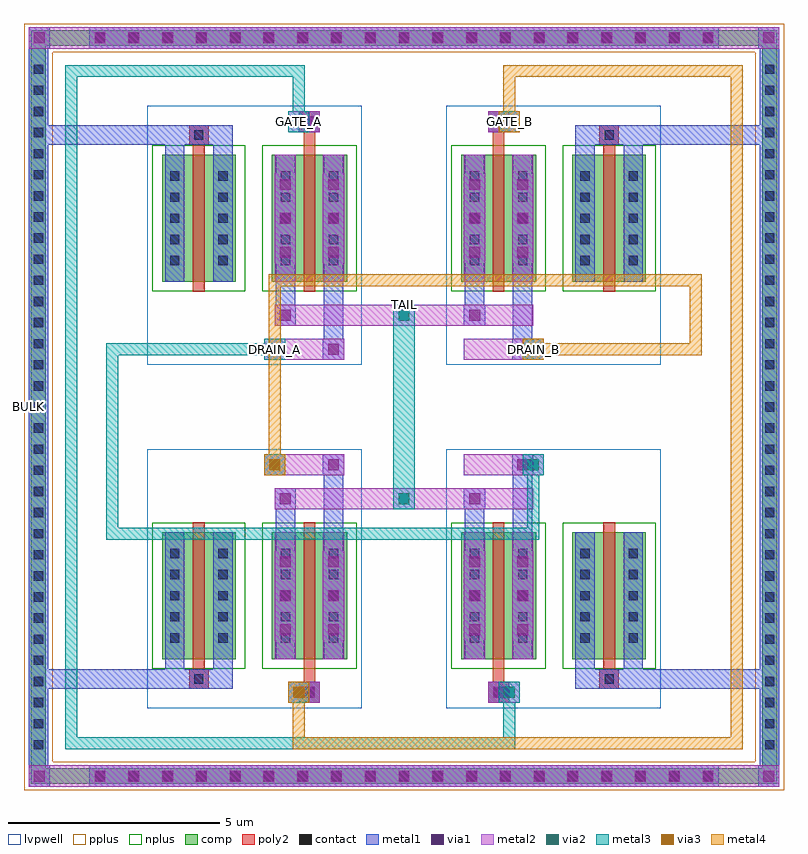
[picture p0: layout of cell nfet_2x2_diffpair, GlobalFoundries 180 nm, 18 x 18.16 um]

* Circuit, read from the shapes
.subckt nfet_2x2_diffpair BULK DRAIN_A DRAIN_B GATE_A GATE_B TAIL
XM1 BULK BULK BULK BULK nfet_03v3 w=3u l=0.28u m=4
XM2 DRAIN_B GATE_B TAIL BULK nfet_03v3 w=3u l=0.28u m=2
XM3 DRAIN_A GATE_A TAIL BULK nfet_03v3 w=3u l=0.28u m=2
.ends

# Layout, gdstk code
import gdstk
lib = gdstk.Library(unit=1e-6, precision=5e-09)
def R(c, l, rs):  # rectangles x0, y0, x1, y1
    for r in rs: c.add(gdstk.rectangle(r[:2], r[2:], *l))
def A(c, l, x, y, w, h, nx, ny, dx, dy):  # array of equal rectangles
    R(c, l, [(x+i*dx, y+j*dy, x+i*dx+w, y+j*dy+h) for i in range(nx) for j in range(ny)])
def P(c, l, *ps):  # polygons
    for p in ps: c.add(gdstk.Polygon(p, *l))
comp = (22, 0)
poly2 = (30, 0)
pplus = (31, 0)
nplus = (32, 0)
contact = (33, 0)
metal1 = (34, 0)
via1 = (35, 0)
metal2 = (36, 0)
via2 = (38, 0)
via3 = (40, 0)
metal3 = (42, 0)
metal4 = (46, 0)
lvpwell = (204, 0)

unnamed_879f9b6f = lib.new_cell('Unnamed_879f9b6f')
R(unnamed_879f9b6f, comp, [(-2.19,-1.905,-0.45,1.095), (0.41,-1.905,2.19,1.095)])
R(unnamed_879f9b6f, poly2, [(1.05,-2.945,1.55,-2.445), (1.12,-2.875,1.48,-2.515), (-1.55,-2.605,-1.09,-2.145), (-1.5,-2.555,-1.14,-2.195), (1.16,-2.445,1.44,-2.145), (-1.46,-2.145,-1.18,1.335), (1.16,-2.145,1.44,1.335)])
R(unnamed_879f9b6f, nplus, [(-2.42,-2.135,-0.22,1.325), (0.18,-2.135,2.42,1.325)])
A(unnamed_879f9b6f, contact, -2, -1.515, 0.22, 0.22, 1, 5, 0, 0.5)
A(unnamed_879f9b6f, contact, -0.86, -1.515, 0.22, 0.22, 1, 5, 0, 0.5)
A(unnamed_879f9b6f, contact, 0.62, -1.515, 0.22, 0.22, 1, 5, 0, 0.5)
A(unnamed_879f9b6f, contact, 1.76, -1.515, 0.22, 0.22, 1, 5, 0, 0.5)
R(unnamed_879f9b6f, contact, [(1.19,-2.805,1.41,-2.585), (-1.43,-2.485,-1.21,-2.265)])
A(unnamed_879f9b6f, metal1, -2.12, -1.635, 0.46, 0.46, 1, 5, 0, 0.5)
A(unnamed_879f9b6f, metal1, -0.98, -1.635, 0.46, 0.46, 1, 5, 0, 0.5)
A(unnamed_879f9b6f, metal1, 0.5, -1.635, 0.46, 0.46, 1, 5, 0, 0.5)
A(unnamed_879f9b6f, metal1, 1.64, -1.635, 0.46, 0.46, 1, 5, 0, 0.5)
A(unnamed_879f9b6f, metal1, 0.48, -1.455, 0.5, 0.5, 1, 3, 0, 0.8)
A(unnamed_879f9b6f, metal1, 1.62, -1.455, 0.5, 0.5, 1, 3, 0, 0.8)
R(unnamed_879f9b6f, metal1, [(1.05,-2.945,1.55,-2.445), (-2.12,-2.605,-1.55,-2.145), (-2.12,-2.605,-1.66,-1.905), (-1.55,-2.605,-1.09,-2.145), (-1.09,-2.605,-0.52,-2.145), (-0.98,-2.605,-0.52,-1.905), (-2.12,-1.905,-1.66,1.095), (-0.98,-1.905,-0.52,1.095), (0.5,-1.905,0.96,1.095), (1.64,-1.905,2.1,1.095), (0.48,-1.455,0.98,0.645), (1.62,-1.455,2.12,0.645), (0.5,1.095,0.96,2.145), (1.64,1.095,2.1,2.945), (0.48,1.645,0.98,2.145), (1.62,2.445,2.12,2.945)])
A(unnamed_879f9b6f, via1, 0.6, -1.335, 0.26, 0.26, 1, 3, 0, 0.8)
A(unnamed_879f9b6f, via1, 1.74, -1.335, 0.26, 0.26, 1, 3, 0, 0.8)
R(unnamed_879f9b6f, via1, [(1.17,-2.825,1.43,-2.565), (0.6,1.765,0.86,2.025), (1.74,2.565,2,2.825)])
A(unnamed_879f9b6f, metal2, 0.48, -1.455, 0.5, 0.5, 1, 3, 0, 0.8)
A(unnamed_879f9b6f, metal2, 1.62, -1.455, 0.5, 0.5, 1, 3, 0, 0.8)
R(unnamed_879f9b6f, metal2, [(1.05,-2.945,1.55,-2.445), (1.05,-2.945,1.55,-2.445), (0.48,-1.905,0.98,1.095), (1.62,-1.905,2.12,1.095), (0.48,1.645,0.98,2.145), (0.48,1.645,2.12,2.145), (0.48,2.445,2.12,2.945), (1.62,2.445,2.12,2.945)])
R(unnamed_879f9b6f, lvpwell, [(-2.54,-3.065,2.54,3.065)])

unnamed_244f37a9 = lib.new_cell('Unnamed_244f37a9')
R(unnamed_244f37a9, comp, [(-2.19,-1.905,-0.41,1.095), (0.45,-1.905,2.19,1.095)])
R(unnamed_244f37a9, poly2, [(-1.55,-2.945,-1.05,-2.445), (-1.48,-2.875,-1.12,-2.515), (1.09,-2.605,1.55,-2.145), (1.14,-2.555,1.5,-2.195), (-1.44,-2.445,-1.16,-2.145), (-1.44,-2.145,-1.16,1.335), (1.18,-2.145,1.46,1.335)])
R(unnamed_244f37a9, nplus, [(-2.42,-2.135,-0.18,1.325), (0.22,-2.135,2.42,1.325)])
A(unnamed_244f37a9, contact, -1.98, -1.515, 0.22, 0.22, 1, 5, 0, 0.5)
A(unnamed_244f37a9, contact, -0.84, -1.515, 0.22, 0.22, 1, 5, 0, 0.5)
A(unnamed_244f37a9, contact, 0.64, -1.515, 0.22, 0.22, 1, 5, 0, 0.5)
A(unnamed_244f37a9, contact, 1.78, -1.515, 0.22, 0.22, 1, 5, 0, 0.5)
R(unnamed_244f37a9, contact, [(-1.41,-2.805,-1.19,-2.585), (1.21,-2.485,1.43,-2.265)])
A(unnamed_244f37a9, metal1, -2.1, -1.635, 0.46, 0.46, 1, 5, 0, 0.5)
A(unnamed_244f37a9, metal1, -0.96, -1.635, 0.46, 0.46, 1, 5, 0, 0.5)
A(unnamed_244f37a9, metal1, 0.52, -1.635, 0.46, 0.46, 1, 5, 0, 0.5)
A(unnamed_244f37a9, metal1, 1.66, -1.635, 0.46, 0.46, 1, 5, 0, 0.5)
A(unnamed_244f37a9, metal1, -2.12, -1.455, 0.5, 0.5, 1, 3, 0, 0.8)
A(unnamed_244f37a9, metal1, -0.98, -1.455, 0.5, 0.5, 1, 3, 0, 0.8)
R(unnamed_244f37a9, metal1, [(-1.55,-2.945,-1.05,-2.445), (0.52,-2.605,1.09,-2.145), (0.52,-2.605,0.98,-1.905), (1.09,-2.605,1.55,-2.145), (1.55,-2.605,2.12,-2.145), (1.66,-2.605,2.12,-1.905), (-2.1,-1.905,-1.64,1.095), (-0.96,-1.905,-0.5,1.095), (0.52,-1.905,0.98,1.095), (1.66,-1.905,2.12,1.095), (-2.12,-1.455,-1.62,0.645), (-0.98,-1.455,-0.48,0.645), (-2.1,1.095,-1.64,2.145), (-0.96,1.095,-0.5,2.945), (-2.12,1.645,-1.62,2.145), (-0.98,2.445,-0.48,2.945)])
A(unnamed_244f37a9, via1, -2, -1.335, 0.26, 0.26, 1, 3, 0, 0.8)
A(unnamed_244f37a9, via1, -0.86, -1.335, 0.26, 0.26, 1, 3, 0, 0.8)
R(unnamed_244f37a9, via1, [(-1.43,-2.825,-1.17,-2.565), (-2,1.765,-1.74,2.025), (-0.86,2.565,-0.6,2.825)])
A(unnamed_244f37a9, metal2, -2.12, -1.455, 0.5, 0.5, 1, 3, 0, 0.8)
A(unnamed_244f37a9, metal2, -0.98, -1.455, 0.5, 0.5, 1, 3, 0, 0.8)
R(unnamed_244f37a9, metal2, [(-1.55,-2.945,-1.05,-2.445), (-1.55,-2.945,-1.05,-2.445), (-2.12,-1.905,-1.62,1.095), (-0.98,-1.905,-0.48,1.095), (-2.12,1.645,-1.62,2.145), (-2.12,1.645,-0.48,2.145), (-2.12,2.445,-0.48,2.945), (-0.98,2.445,-0.48,2.945)])
R(unnamed_244f37a9, lvpwell, [(-2.54,-3.065,2.54,3.065)])

straight_route_24aa01d9 = lib.new_cell('straight_route_24aa01d9')
R(straight_route_24aa01d9, metal2, [(-1.42,1.92,1.42,2.42)])

straight_route_828b8db8 = lib.new_cell('straight_route_828b8db8')
R(straight_route_828b8db8, metal2, [(-1.42,-2.42,1.42,-1.92)])

via_stack_22f48a44 = lib.new_cell('via_stack_22f48a44')
R(via_stack_22f48a44, metal2, [(-0.25,-0.25,0.25,0.25)])
R(via_stack_22f48a44, via2, [(-0.13,-0.13,0.13,0.13)])
R(via_stack_22f48a44, metal3, [(-0.25,-0.25,0.25,0.25)])

straight_route_9fc67775 = lib.new_cell('straight_route_9fc67775')
R(straight_route_9fc67775, metal3, [(-0.25,-1.92,0.25,1.92)])

via_stack_22f48a44_1 = lib.new_cell('via_stack_22f48a44$1')
R(via_stack_22f48a44_1, metal2, [(-0.25,-0.25,0.25,0.25)])
R(via_stack_22f48a44_1, via2, [(-0.13,-0.13,0.13,0.13)])
R(via_stack_22f48a44_1, metal3, [(-0.25,-0.25,0.25,0.25)])

compass_9772c063 = lib.new_cell('compass_9772c063')
R(compass_9772c063, metal3, [(-2.065,-0.14,2.065,0.14)])

rectangle_01c9556d = lib.new_cell('rectangle_01c9556d')
rectangle_01c9556d.add(gdstk.Reference(compass_9772c063, (0,0)))

compass_a9d964d2 = lib.new_cell('compass_a9d964d2')
R(compass_a9d964d2, metal3, [(-0.14,-2.325,0.14,2.325)])

rectangle_f026149b = lib.new_cell('rectangle_f026149b')
rectangle_f026149b.add(gdstk.Reference(compass_a9d964d2, (0,0)))

compass_8cec6944 = lib.new_cell('compass_8cec6944')
R(compass_8cec6944, metal3, [(-5.125,-0.14,5.125,0.14)])

rectangle_f2bba85a = lib.new_cell('rectangle_f2bba85a')
rectangle_f2bba85a.add(gdstk.Reference(compass_8cec6944, (0,0)))

compass_07b543f3 = lib.new_cell('compass_07b543f3')
R(compass_07b543f3, metal3, [(-0.14,-0.955,0.14,0.955)])

rectangle_9e6814dc = lib.new_cell('rectangle_9e6814dc')
rectangle_9e6814dc.add(gdstk.Reference(compass_07b543f3, (0,0)))

via_stack_4d5fe55e = lib.new_cell('via_stack_4d5fe55e')
R(via_stack_4d5fe55e, metal2, [(-0.25,-0.25,0.25,0.25)])
R(via_stack_4d5fe55e, via2, [(-0.13,-0.13,0.13,0.13)])
R(via_stack_4d5fe55e, via3, [(-0.13,-0.13,0.13,0.13)])
R(via_stack_4d5fe55e, metal3, [(-0.25,-0.25,0.25,0.25)])
R(via_stack_4d5fe55e, metal4, [(-0.25,-0.25,0.25,0.25)])

compass_a25909b4 = lib.new_cell('compass_a25909b4')
R(compass_a25909b4, metal4, [(-2.065,-0.14,2.065,0.14)])

rectangle_b2c0afbe = lib.new_cell('rectangle_b2c0afbe')
rectangle_b2c0afbe.add(gdstk.Reference(compass_a25909b4, (0,0)))

compass_37e26d6c = lib.new_cell('compass_37e26d6c')
R(compass_37e26d6c, metal4, [(-0.14,-0.955,0.14,0.955)])

rectangle_351399ae = lib.new_cell('rectangle_351399ae')
rectangle_351399ae.add(gdstk.Reference(compass_37e26d6c, (0,0)))

compass_6faa5492 = lib.new_cell('compass_6faa5492')
R(compass_6faa5492, metal4, [(-5.125,-0.14,5.125,0.14)])

rectangle_6158d154 = lib.new_cell('rectangle_6158d154')
rectangle_6158d154.add(gdstk.Reference(compass_6faa5492, (0,0)))

compass_6f59610a = lib.new_cell('compass_6f59610a')
R(compass_6f59610a, metal4, [(-0.14,-2.325,0.14,2.325)])

rectangle_953685e8 = lib.new_cell('rectangle_953685e8')
rectangle_953685e8.add(gdstk.Reference(compass_6f59610a, (0,0)))

via_stack_22f48a44_2 = lib.new_cell('via_stack_22f48a44$2')
R(via_stack_22f48a44_2, metal2, [(-0.25,-0.25,0.25,0.25)])
R(via_stack_22f48a44_2, via2, [(-0.13,-0.13,0.13,0.13)])
R(via_stack_22f48a44_2, metal3, [(-0.25,-0.25,0.25,0.25)])

compass_f17724b5 = lib.new_cell('compass_f17724b5')
R(compass_f17724b5, metal3, [(-0.14,-0.74,0.14,0.74)])

rectangle_c2f1827f = lib.new_cell('rectangle_c2f1827f')
rectangle_c2f1827f.add(gdstk.Reference(compass_f17724b5, (0,0)))

compass_211bb772 = lib.new_cell('compass_211bb772')
R(compass_211bb772, metal3, [(-2.835,-0.14,2.835,0.14)])

rectangle_39fa1f58 = lib.new_cell('rectangle_39fa1f58')
rectangle_39fa1f58.add(gdstk.Reference(compass_211bb772, (0,0)))

compass_9f03848f = lib.new_cell('compass_9f03848f')
R(compass_9f03848f, metal3, [(-0.14,-8.1,0.14,8.1)])

rectangle_bbaffbfc = lib.new_cell('rectangle_bbaffbfc')
rectangle_bbaffbfc.add(gdstk.Reference(compass_9f03848f, (0,0)))

compass_ac3ade1e = lib.new_cell('compass_ac3ade1e')
R(compass_ac3ade1e, metal3, [(-5.325,-0.14,5.325,0.14)])

rectangle_ac18358f = lib.new_cell('rectangle_ac18358f')
rectangle_ac18358f.add(gdstk.Reference(compass_ac3ade1e, (0,0)))

compass_f17724b5_1 = lib.new_cell('compass_f17724b5$1')
R(compass_f17724b5_1, metal3, [(-0.14,-0.74,0.14,0.74)])

rectangle_c2f1827f_1 = lib.new_cell('rectangle_c2f1827f$1')
rectangle_c2f1827f_1.add(gdstk.Reference(compass_f17724b5_1, (0,0)))

via_stack_4d5fe55e_1 = lib.new_cell('via_stack_4d5fe55e$1')
R(via_stack_4d5fe55e_1, metal2, [(-0.25,-0.25,0.25,0.25)])
R(via_stack_4d5fe55e_1, via2, [(-0.13,-0.13,0.13,0.13)])
R(via_stack_4d5fe55e_1, via3, [(-0.13,-0.13,0.13,0.13)])
R(via_stack_4d5fe55e_1, metal3, [(-0.25,-0.25,0.25,0.25)])
R(via_stack_4d5fe55e_1, metal4, [(-0.25,-0.25,0.25,0.25)])

compass_7c418bd1 = lib.new_cell('compass_7c418bd1')
R(compass_7c418bd1, metal4, [(-0.14,-0.74,0.14,0.74)])

rectangle_67e5772b = lib.new_cell('rectangle_67e5772b')
rectangle_67e5772b.add(gdstk.Reference(compass_7c418bd1, (0,0)))

compass_c760ec4f = lib.new_cell('compass_c760ec4f')
R(compass_c760ec4f, metal4, [(-2.835,-0.14,2.835,0.14)])

rectangle_452ee9a3 = lib.new_cell('rectangle_452ee9a3')
rectangle_452ee9a3.add(gdstk.Reference(compass_c760ec4f, (0,0)))

compass_8f05660e = lib.new_cell('compass_8f05660e')
R(compass_8f05660e, metal4, [(-0.14,-8.1,0.14,8.1)])

rectangle_952943f6 = lib.new_cell('rectangle_952943f6')
rectangle_952943f6.add(gdstk.Reference(compass_8f05660e, (0,0)))

compass_539da720 = lib.new_cell('compass_539da720')
R(compass_539da720, metal4, [(-5.325,-0.14,5.325,0.14)])

rectangle_0ae30658 = lib.new_cell('rectangle_0ae30658')
rectangle_0ae30658.add(gdstk.Reference(compass_539da720, (0,0)))

compass_7c418bd1_1 = lib.new_cell('compass_7c418bd1$1')
R(compass_7c418bd1_1, metal4, [(-0.14,-0.74,0.14,0.74)])

rectangle_67e5772b_1 = lib.new_cell('rectangle_67e5772b$1')
rectangle_67e5772b_1.add(gdstk.Reference(compass_7c418bd1_1, (0,0)))

unnamed_70e6716a_1 = lib.new_cell('Unnamed_70e6716a$1')
A(unnamed_70e6716a_1, comp, -7.38, -8.92, 0.36, 0.36, 19, 2, 0.8, 17.48)
A(unnamed_70e6716a_1, comp, -8.84, -8.18, 0.36, 0.36, 1, 33, 0, 0.5)
A(unnamed_70e6716a_1, comp, 8.48, -8.18, 0.36, 0.36, 1, 33, 0, 0.5)
R(unnamed_70e6716a_1, comp, [(-7.38,-8.92,7.38,-8.56), (-8.84,-8.18,-8.48,8.18), (8.48,-8.18,8.84,8.18), (-7.38,8.56,7.38,8.92)])
P(unnamed_70e6716a_1, comp, [(8.84,8.92),(-8.84,8.92),(-8.84,-8.56),(-8.48,-8.56),(-8.48,8.56),(8.48,8.56),(8.48,-8.56),(-8.48,-8.56),(-8.84,-8.56),(-8.84,-8.92),(8.84,-8.92)])
P(unnamed_70e6716a_1, pplus, [(9,9.08),(-9,9.08),(-9,-8.4),(-8.32,-8.4),(-8.32,8.4),(8.32,8.4),(8.32,-8.4),(-8.32,-8.4),(-9,-8.4),(-9,-9.08),(9,-9.08)])
A(unnamed_70e6716a_1, contact, -7.31, -8.85, 0.22, 0.22, 19, 2, 0.8, 17.48)
A(unnamed_70e6716a_1, contact, -8.77, -8.11, 0.22, 0.22, 1, 33, 0, 0.5)
A(unnamed_70e6716a_1, contact, 8.55, -8.11, 0.22, 0.22, 1, 33, 0, 0.5)
A(unnamed_70e6716a_1, metal1, -7.45, -8.99, 0.5, 0.5, 19, 2, 0.8, 17.48)
A(unnamed_70e6716a_1, metal1, -8.89, -8.23, 0.46, 0.46, 1, 33, 0, 0.5)
A(unnamed_70e6716a_1, metal1, 8.43, -8.23, 0.46, 0.46, 1, 33, 0, 0.5)
R(unnamed_70e6716a_1, metal1, [(-8.89,-8.99,-8.39,-8.49), (-8.89,-8.99,-8.39,-8.49), (-8.89,-8.99,-8.43,-8.56), (-7.45,-8.99,7.45,-8.49), (8.39,-8.99,8.89,-8.49), (8.39,-8.99,8.89,-8.49), (8.43,-8.99,8.89,-8.56), (-8.89,-8.56,-8.43,8.56), (8.43,-8.56,8.89,8.56), (-8.89,8.49,-8.39,8.99), (-8.89,8.49,-8.39,8.99), (-7.45,8.49,7.45,8.99), (8.39,8.49,8.89,8.99), (8.39,8.49,8.89,8.99), (-8.89,8.56,-8.43,8.99), (8.43,8.56,8.89,8.99)])
A(unnamed_70e6716a_1, via1, -7.33, -8.87, 0.26, 0.26, 19, 2, 0.8, 17.48)
R(unnamed_70e6716a_1, via1, [(-8.77,-8.87,-8.51,-8.61), (8.51,-8.87,8.77,-8.61), (-8.77,8.61,-8.51,8.87), (8.51,8.61,8.77,8.87)])
A(unnamed_70e6716a_1, metal2, -7.45, -8.99, 0.5, 0.5, 19, 2, 0.8, 17.48)
R(unnamed_70e6716a_1, metal2, [(-8.89,-8.99,-8.48,-8.49), (-8.89,-8.99,-8.39,-8.49), (-8.89,-8.99,-8.39,-8.49), (-8.48,-8.99,8.48,-8.49), (8.39,-8.99,8.89,-8.49), (8.39,-8.99,8.89,-8.49), (8.48,-8.99,8.89,-8.49), (-8.89,8.49,-8.48,8.99), (-8.89,8.49,-8.39,8.99), (-8.89,8.49,-8.39,8.99), (-8.48,8.49,8.48,8.99), (8.39,8.49,8.89,8.99), (8.39,8.49,8.89,8.99), (8.48,8.49,8.89,8.99)])

straight_route_9d252061 = lib.new_cell('straight_route_9d252061')
R(straight_route_9d252061, metal1, [(-8.89,6.21,-5.09,6.67)])

straight_route_bb949ec6 = lib.new_cell('straight_route_bb949ec6')
R(straight_route_bb949ec6, metal1, [(-8.89,-6.67,-5.09,-6.21)])

straight_route_a63f3fcf = lib.new_cell('straight_route_a63f3fcf')
R(straight_route_a63f3fcf, metal1, [(4.63,6.21,8.89,6.67)])

straight_route_f7c131a2 = lib.new_cell('straight_route_f7c131a2')
R(straight_route_f7c131a2, metal1, [(4.63,-6.67,8.89,-6.21)])

nfet_2x2_diffpair = lib.new_cell('nfet_2x2_diffpair')
nfet_2x2_diffpair.add(gdstk.Reference(unnamed_879f9b6f, (-3.54,4.065), x_reflection=True))
nfet_2x2_diffpair.add(gdstk.Reference(unnamed_244f37a9, (3.54,4.065), x_reflection=True))
nfet_2x2_diffpair.add(gdstk.Reference(unnamed_879f9b6f, (-3.54,-4.065)))
nfet_2x2_diffpair.add(gdstk.Reference(unnamed_244f37a9, (3.54,-4.065)))
nfet_2x2_diffpair.add(gdstk.Reference(straight_route_24aa01d9, (0,0)))
nfet_2x2_diffpair.add(gdstk.Reference(straight_route_828b8db8, (0,0)))
nfet_2x2_diffpair.add(gdstk.Reference(via_stack_22f48a44, (0,2.17)))
nfet_2x2_diffpair.add(gdstk.Reference(via_stack_22f48a44, (0,-2.17)))
nfet_2x2_diffpair.add(gdstk.Reference(straight_route_9fc67775, (0,0)))
nfet_2x2_diffpair.add(gdstk.Reference(via_stack_22f48a44_1, (-3.06,1.37)))
nfet_2x2_diffpair.add(gdstk.Reference(via_stack_22f48a44_1, (3.06,-1.37)))
nfet_2x2_diffpair.add(gdstk.Reference(rectangle_01c9556d, (-4.985,1.37)))
nfet_2x2_diffpair.add(gdstk.Reference(rectangle_f026149b, (-6.91,-0.815)))
nfet_2x2_diffpair.add(gdstk.Reference(rectangle_f2bba85a, (-1.925,-3)))
nfet_2x2_diffpair.add(gdstk.Reference(rectangle_9e6814dc, (3.06,-2.185)))
nfet_2x2_diffpair.add(gdstk.Reference(via_stack_4d5fe55e, (3.06,1.37)))
nfet_2x2_diffpair.add(gdstk.Reference(via_stack_4d5fe55e, (-3.06,-1.37)))
nfet_2x2_diffpair.add(gdstk.Reference(rectangle_b2c0afbe, (4.985,1.37)))
nfet_2x2_diffpair.add(gdstk.Reference(rectangle_351399ae, (6.91,2.185)))
nfet_2x2_diffpair.add(gdstk.Reference(rectangle_6158d154, (1.925,3)))
nfet_2x2_diffpair.add(gdstk.Reference(rectangle_953685e8, (-3.06,0.815)))
nfet_2x2_diffpair.add(gdstk.Reference(via_stack_22f48a44_2, (-2.49,6.76)))
nfet_2x2_diffpair.add(gdstk.Reference(via_stack_22f48a44_2, (2.49,-6.76)))
nfet_2x2_diffpair.add(gdstk.Reference(rectangle_c2f1827f, (-2.49,7.36)))
nfet_2x2_diffpair.add(gdstk.Reference(rectangle_39fa1f58, (-5.185,7.96)))
nfet_2x2_diffpair.add(gdstk.Reference(rectangle_bbaffbfc, (-7.88,0)))
nfet_2x2_diffpair.add(gdstk.Reference(rectangle_ac18358f, (-2.695,-7.96)))
nfet_2x2_diffpair.add(gdstk.Reference(rectangle_c2f1827f_1, (2.49,-7.36)))
nfet_2x2_diffpair.add(gdstk.Reference(via_stack_4d5fe55e_1, (2.49,6.76)))
nfet_2x2_diffpair.add(gdstk.Reference(via_stack_4d5fe55e_1, (-2.49,-6.76)))
nfet_2x2_diffpair.add(gdstk.Reference(rectangle_67e5772b, (2.49,7.36)))
nfet_2x2_diffpair.add(gdstk.Reference(rectangle_452ee9a3, (5.185,7.96)))
nfet_2x2_diffpair.add(gdstk.Reference(rectangle_952943f6, (7.88,0)))
nfet_2x2_diffpair.add(gdstk.Reference(rectangle_0ae30658, (2.695,-7.96)))
nfet_2x2_diffpair.add(gdstk.Reference(rectangle_67e5772b_1, (-2.49,-7.36)))
nfet_2x2_diffpair.add(gdstk.Reference(unnamed_70e6716a_1, (0,0)))
nfet_2x2_diffpair.add(gdstk.Reference(straight_route_9d252061, (0,0)))
nfet_2x2_diffpair.add(gdstk.Reference(straight_route_bb949ec6, (0,0)))
nfet_2x2_diffpair.add(gdstk.Reference(straight_route_a63f3fcf, (0,0)))
nfet_2x2_diffpair.add(gdstk.Reference(straight_route_f7c131a2, (0,0)))
nfet_2x2_diffpair.add(gdstk.Label('GATE_A', (-2.49,6.76), layer=36, texttype=10))
nfet_2x2_diffpair.add(gdstk.Label('GATE_B', (2.49,6.76), layer=36, texttype=10))
nfet_2x2_diffpair.add(gdstk.Label('DRAIN_A', (-3.06,1.37), layer=36, texttype=10))
nfet_2x2_diffpair.add(gdstk.Label('DRAIN_B', (3.06,1.37), layer=36, texttype=10))
nfet_2x2_diffpair.add(gdstk.Label('TAIL', (0,2.42), layer=42, texttype=10))
nfet_2x2_diffpair.add(gdstk.Label('BULK', (-8.89,0), layer=34, texttype=10))

lib.write_gds('nfet_2x2_diffpair.gds')
